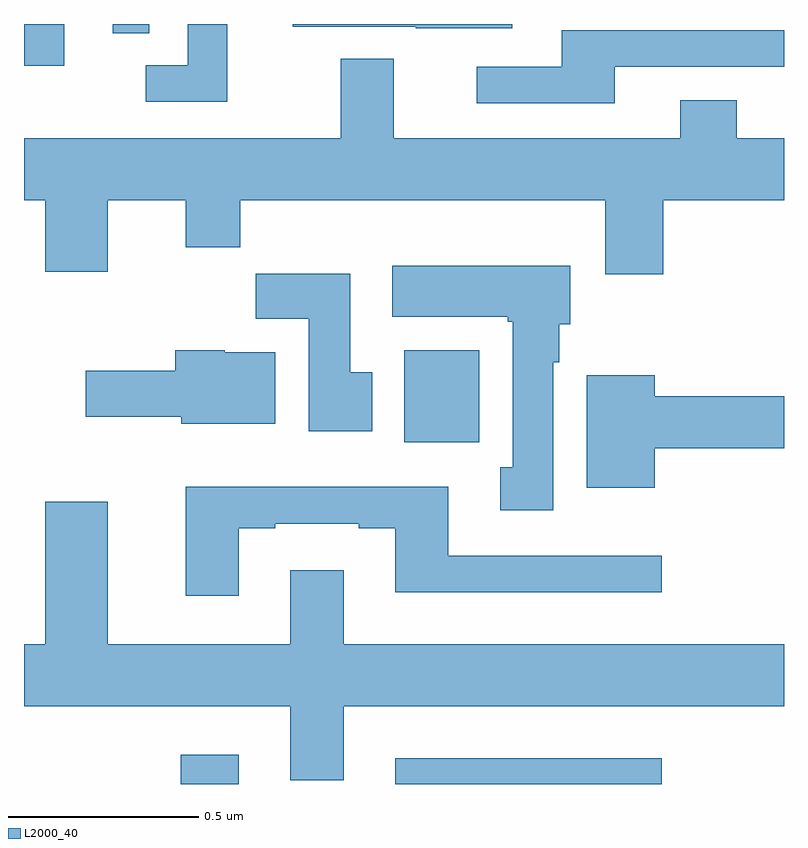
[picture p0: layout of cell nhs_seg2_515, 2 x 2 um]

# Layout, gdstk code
import gdstk
lib = gdstk.Library(unit=1e-6, precision=1e-09)
def R(c, l, rs):  # rectangles x0, y0, x1, y1
    for r in rs: c.add(gdstk.rectangle(r[:2], r[2:], *l))
def P(c, l, *ps):  # polygons
    for p in ps: c.add(gdstk.Polygon(p, *l))
L2000_40 = (2000, 40)

nhs_seg2_515 = lib.new_cell('nhs_seg2_515')
R(nhs_seg2_515, L2000_40, [(117.413,612.8,117.565,612.877), (117.977,612.8,118.678,612.868), (118.001,613.7,118.198,613.942), (117,614.69,117.106,614.8), (117.234,614.776,117.33,614.8)])
P(nhs_seg2_515, L2000_40, [(118.285,614.8),(117.707,614.8),(117.707,614.793),(118.031,614.793),(118.031,614.789),(118.285,614.789)],
  [(117.535,614.8),(117.431,614.8),(117.431,614.691),(117.321,614.691),(117.321,614.595),(117.535,614.595)],
  [(118.555,614.688),(119,614.688),(119,614.784),(118.415,614.784),(118.415,614.688),(118.191,614.688),(118.191,614.592),(118.555,614.592)],
  [(118.682,614.336),(119,614.336),(119,614.5),(118.875,614.5),(118.875,614.599),(118.727,614.599),(118.727,614.5),(117.973,614.5),(117.973,614.708),(117.833,614.708),(117.833,614.5),(117,614.5),(117,614.336),(117.056,614.336),(117.056,614.148),(117.22,614.148),(117.22,614.336),(117.425,614.336),(117.425,614.212),(117.569,614.212),(117.569,614.336),(118.529,614.336),(118.529,614.142),(118.682,614.142)],
  [(118.393,613.91),(118.408,613.91),(118.408,614.01),(118.438,614.01),(118.438,614.164),(117.969,614.164),(117.969,614.03),(118.273,614.03),(118.273,614.017),(118.286,614.017),(118.286,613.634),(118.253,613.634),(118.253,613.521),(118.393,613.521)],
  [(117.916,613.884),(117.859,613.884),(117.859,614.143),(117.61,614.143),(117.61,614.024),(117.749,614.024),(117.749,613.728),(117.916,613.728)],
  [(117.661,613.936),(117.528,613.936),(117.528,613.942),(117.398,613.942),(117.398,613.888),(117.162,613.888),(117.162,613.766),(117.414,613.766),(117.414,613.748),(117.661,613.748)],
  [(118.66,613.684),(119,613.684),(119,613.82),(118.66,613.82),(118.66,613.876),(118.481,613.876),(118.481,613.58),(118.66,613.58)],
  [(117.565,613.473),(117.661,613.473),(117.661,613.485),(117.881,613.485),(117.881,613.473),(117.977,613.473),(117.977,613.304),(118.678,613.304),(118.678,613.401),(118.117,613.401),(118.117,613.582),(117.425,613.582),(117.425,613.296),(117.565,613.296)],
  [(117.841,613.004),(119,613.004),(119,613.168),(117.841,613.168),(117.841,613.363),(117.701,613.363),(117.701,613.168),(117.22,613.168),(117.22,613.543),(117.056,613.543),(117.056,613.168),(117,613.168),(117,613.004),(117.701,613.004),(117.701,612.81),(117.841,612.81)])

lib.write_gds('nhs_seg2_515.gds')
